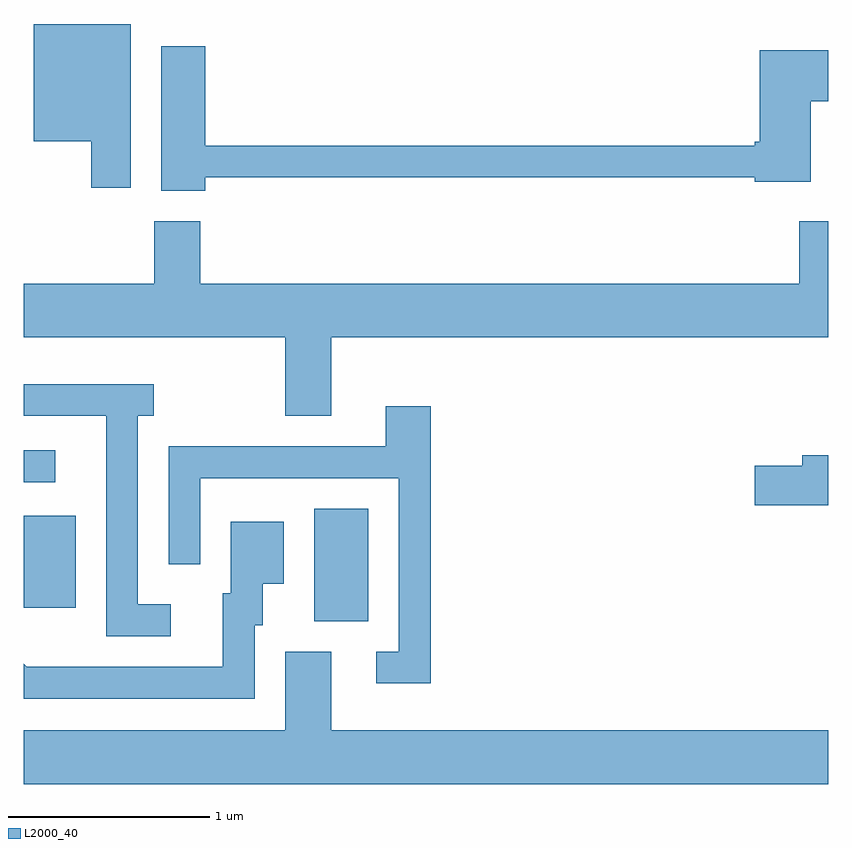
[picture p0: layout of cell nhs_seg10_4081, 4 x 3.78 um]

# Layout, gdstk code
import gdstk
lib = gdstk.Library(unit=1e-6, precision=1e-09)
def R(c, l, rs):  # rectangles x0, y0, x1, y1
    for r in rs: c.add(gdstk.rectangle(r[:2], r[2:], *l))
def P(c, l, *ps):  # polygons
    for p in ps: c.add(gdstk.Polygon(p, *l))
L2000_40 = (2000, 40)

nhs_seg10_4081 = lib.new_cell('nhs_seg10_4081')
R(nhs_seg10_4081, L2000_40, [(307.056,2121.386,307.324,2121.944), (305.611,2121.451,305.869,2121.909), (305.611,2122.076,305.768,2122.234)])
P(nhs_seg10_4081, L2000_40, [(306.144,2124.354),(305.661,2124.354),(305.661,2123.771),(305.946,2123.771),(305.946,2123.541),(306.144,2123.541)],
  [(306.514,2123.591),(309.246,2123.591),(309.246,2123.571),(309.524,2123.571),(309.524,2123.971),(309.611,2123.971),(309.611,2124.224),(309.271,2124.224),(309.271,2123.769),(309.246,2123.769),(309.246,2123.749),(306.514,2123.749),(306.514,2124.244),(306.296,2124.244),(306.296,2123.526),(306.514,2123.526)],
  [(307.139,2122.796),(309.611,2122.796),(309.611,2123.374),(309.466,2123.374),(309.466,2123.064),(306.489,2123.064),(306.489,2123.374),(306.261,2123.374),(306.261,2123.064),(305.611,2123.064),(305.611,2122.796),(306.911,2122.796),(306.911,2122.406),(307.139,2122.406)],
  [(306.343,2121.469),(306.179,2121.469),(306.179,2122.406),(306.258,2122.406),(306.258,2122.564),(305.611,2122.564),(305.611,2122.406),(306.021,2122.406),(306.021,2121.311),(306.343,2121.311)],
  [(307.634,2122.454),(307.411,2122.454),(307.411,2122.254),(306.331,2122.254),(306.331,2121.668),(306.489,2121.668),(306.489,2122.096),(307.476,2122.096),(307.476,2121.234),(307.363,2121.234),(307.363,2121.076),(307.634,2121.076)],
  [(309.611,2122.209),(309.481,2122.209),(309.481,2122.159),(309.246,2122.159),(309.246,2121.961),(309.611,2121.961)],
  [(306.759,2121.366),(306.799,2121.366),(306.799,2121.571),(306.904,2121.571),(306.904,2121.879),(306.641,2121.879),(306.641,2121.524),(306.601,2121.524),(306.601,2121.159),(305.627,2121.159),(305.611,2121.175),(305.611,2121.001),(306.759,2121.001)],
  [(309.611,2120.844),(307.139,2120.844),(307.139,2121.234),(306.911,2121.234),(306.911,2120.844),(305.611,2120.844),(305.611,2120.576),(309.611,2120.576)])

lib.write_gds('nhs_seg10_4081.gds')
